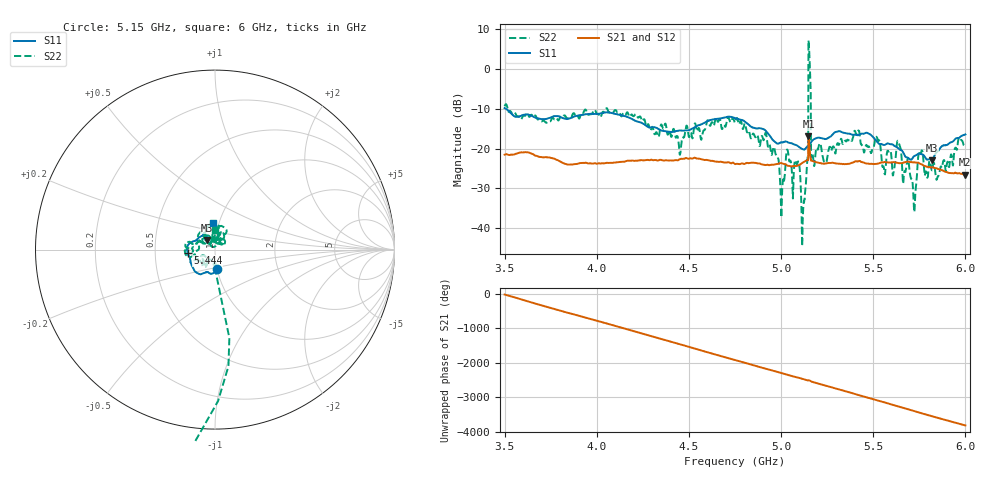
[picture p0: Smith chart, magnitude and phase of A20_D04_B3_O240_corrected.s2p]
! Created with skrf 1.9.0 (http://scikit-rf.org).
# Hz S RI R 50.0
!freq ReS11 ImS11 ReS21 ImS21 ReS12 ImS12 ReS22 ImS22
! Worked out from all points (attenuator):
!   1601 points, 3.5 GHz to 6 GHz, reference 50 ohm
!   highest |S21| = -16.98 dB at 5.148 GHz (marker M1); lowest = -26.6 dB at 5.997 GHz (marker M2)
!   lowest |S11| = -23.0 dB at 5.817 GHz (marker M3), VSWR 1.15, Z = 45.3 + j4.84 ohm
!   |S11| at or under -10 dB: 3.507 GHz to end of sweep
!   |S22| runs from -44.6 to 7.2 dB; largest |S21 - S12| = 0.0011
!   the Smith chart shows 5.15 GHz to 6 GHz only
!   S11 on the Smith chart (normalised r, x): 5.15 GHz: 1.00, -0.22; 5.444 GHz: 0.73, -0.03; 6 GHz: 0.94, +0.29
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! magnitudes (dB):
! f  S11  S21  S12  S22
! 3.5 GHz  -9.8  -21.6  -21.5  -9.4
! 3.917 GHz  -11.6  -23.6  -23.6  -11.1
! 4.334 GHz  -15.1  -23.0  -22.9  -17.1
! 4.75 GHz  -12.4  -23.9  -23.8  -13.5
! 4.923 GHz  -15.9  -24.1  -24.1  -17.8
! 5.006 GHz  -18.5  -23.8  -23.7  -30.1
! 5.036 GHz  -18.4  -24.3  -24.2  -20.4
! 5.088 GHz  -19.3  -24.3  -24.3  -23.8
! 5.12 GHz  -20.2  -23.5  -23.4  -35.0
! 5.134 GHz  -19.9  -23.1  -23.0  -29.1
! 5.148 GHz  -19.2  -17.0  -17.0  7.2
! 5.15 GHz  -19.1  -17.5  -17.5  6.7
! 5.167 GHz  -18.1  -23.1  -23.0  -21.3
! 5.175 GHz  -17.8  -23.2  -23.2  -22.8
! 5.444 GHz  -16.3  -23.5  -23.4  -19.6
! 5.584 GHz  -18.8  -23.5  -23.5  -20.7
! 5.639 GHz  -20.1  -23.7  -23.6  -18.6
! 5.722 GHz  -21.9  -23.5  -23.4  -35.6
! 5.755 GHz  -21.3  -23.9  -23.8  -21.0
! 5.817 GHz  -23.0  -24.8  -24.7  -25.4
! 5.997 GHz  -16.5  -26.6  -26.5  -19.3
! 6 GHz  -16.5  -26.6  -26.5  -19.3
